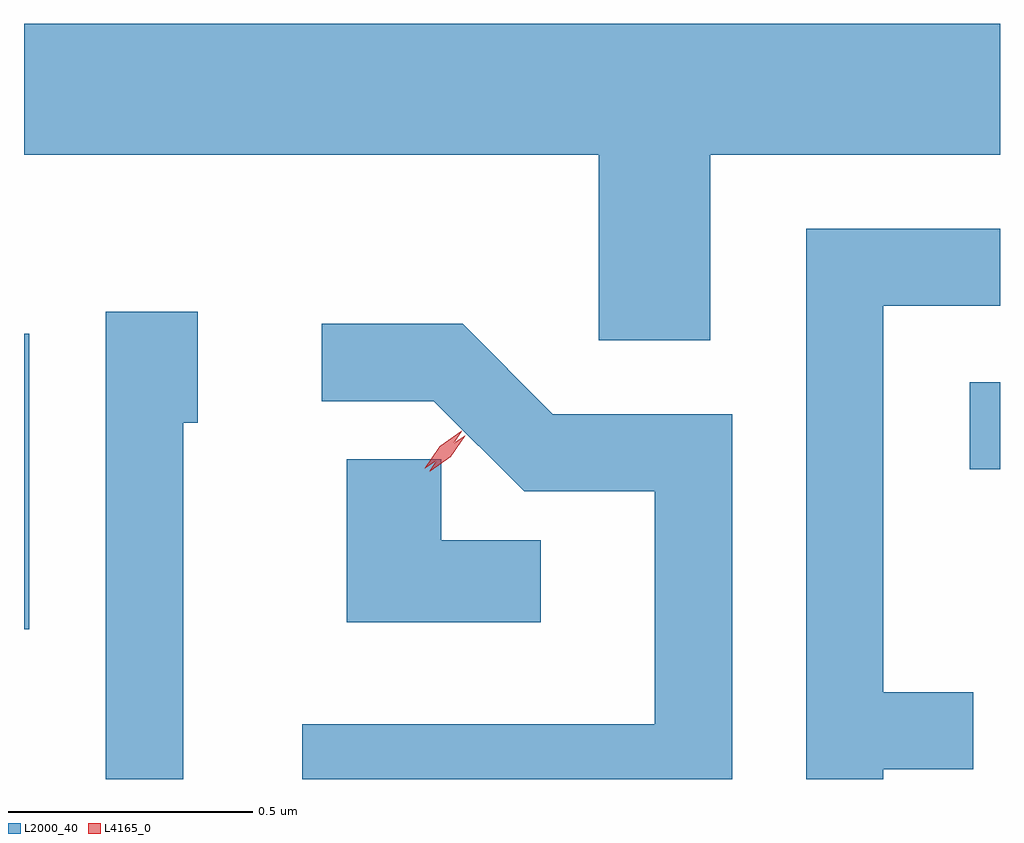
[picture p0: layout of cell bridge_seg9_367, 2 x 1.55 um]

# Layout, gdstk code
import gdstk
lib = gdstk.Library(unit=1e-6, precision=1e-09)
def R(c, l, rs):  # rectangles x0, y0, x1, y1
    for r in rs: c.add(gdstk.rectangle(r[:2], r[2:], *l))
def P(c, l, *ps):  # polygons
    for p in ps: c.add(gdstk.Polygon(p, *l))
L2000_40 = (2000, 40)
L4165_0 = (4165, 0)

bridge_seg9_367 = lib.new_cell('bridge_seg9_367')
R(bridge_seg9_367, L2000_40, [(848.583,1981.963,848.594,1982.569), (850.521,1982.291,850.583,1982.469)])
P(bridge_seg9_367, L2000_40, [(849.989,1982.936),(850.583,1982.936),(850.583,1983.204),(848.583,1983.204),(848.583,1982.936),(849.761,1982.936),(849.761,1982.556),(849.989,1982.556)],
  [(850.344,1981.676),(850.528,1981.676),(850.528,1981.834),(850.344,1981.834),(850.344,1982.626),(850.583,1982.626),(850.583,1982.784),(850.186,1982.784),(850.186,1981.656),(850.344,1981.656)],
  [(848.909,1982.386),(848.939,1982.386),(848.939,1982.614),(848.751,1982.614),(848.751,1981.656),(848.909,1981.656)],
  [(850.034,1982.404),(849.667,1982.404),(849.482,1982.589),(849.193,1982.589),(849.193,1982.431),(849.423,1982.431),(849.608,1982.246),(849.876,1982.246),(849.876,1981.769),(849.153,1981.769),(849.153,1981.656),(850.034,1981.656)],
  [(849.642,1982.146),(849.438,1982.146),(849.438,1982.312),(849.244,1982.312),(849.244,1981.978),(849.642,1981.978)])
P(bridge_seg9_367, L4165_0, [(849.404,1982.293),(849.404,1982.293),(849.435,1982.338),(849.48,1982.37),(849.48,1982.37),(849.48,1982.369),(849.45,1982.324),(849.405,1982.293)],
  [(849.414,1982.287),(849.414,1982.288),(849.443,1982.331),(849.486,1982.36),(849.487,1982.36),(849.487,1982.36),(849.457,1982.317),(849.415,1982.287)])

lib.write_gds('bridge_seg9_367.gds')
